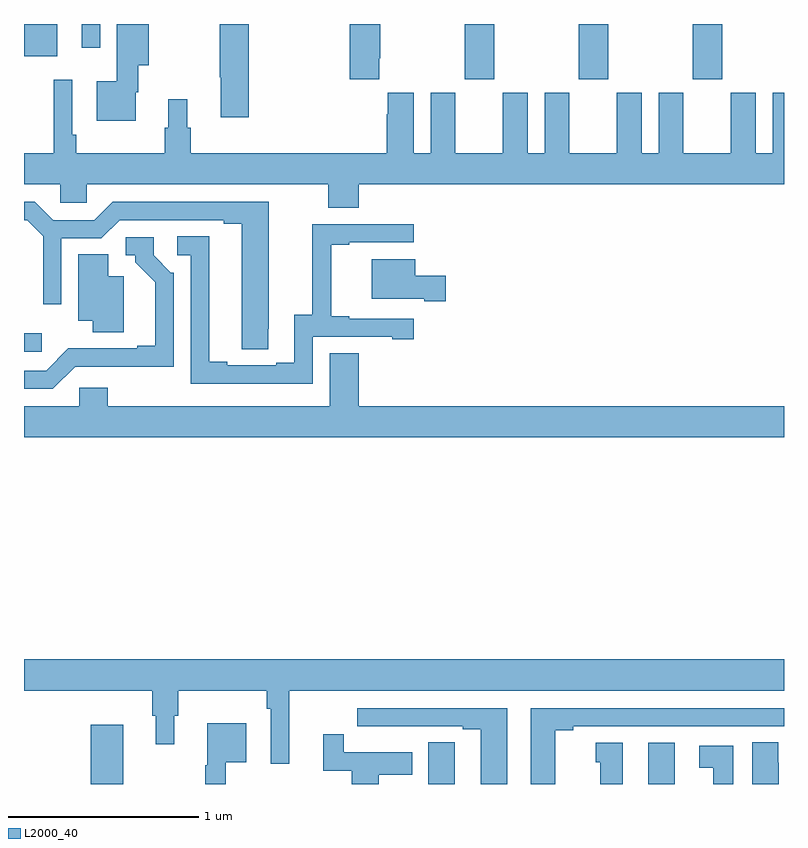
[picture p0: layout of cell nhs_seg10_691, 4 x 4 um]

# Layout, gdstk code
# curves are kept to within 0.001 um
import gdstk
lib = gdstk.Library(unit=1e-6, precision=1e-09)
def R(c, l, rs):  # rectangles x0, y0, x1, y1
    for r in rs: c.add(gdstk.rectangle(r[:2], r[2:], *l))
def A(c, l, x, y, w, h, nx, ny, dx, dy):  # array of equal rectangles
    R(c, l, [(x+i*dx, y+j*dy, x+i*dx+w, y+j*dy+h) for i in range(nx) for j in range(ny)])
def P(c, l, *ps):  # polygons
    for p in ps: c.add(gdstk.Polygon(p, *l))
L2000_40 = (2000, 40)

nhs_seg10_691 = lib.new_cell('nhs_seg10_691')
A(nhs_seg10_691, L2000_40, 147.319, 1294.209, 0.155, 0.291, 3, 1, 0.6, 0)
R(nhs_seg10_691, L2000_40, [(145.352,1290.5,145.522,1290.811), (148.286,1290.5,148.426,1290.718), (145,1292.775,145.093,1292.872), (145,1294.331,145.174,1294.5), (145.304,1294.374,145.401,1294.5)])
P(nhs_seg10_691, L2000_40, [(146.183,1294.5),(146.029,1294.5),(146.029,1294.22),(146.036,1294.22),(146.036,1294.008),(146.183,1294.008)],
  [(145.587,1294.142),(145.6,1294.142),(145.6,1294.283),(145.656,1294.283),(145.656,1294.5),(145.489,1294.5),(145.489,1294.198),(145.382,1294.198),(145.382,1293.992),(145.587,1293.992)],
  [(146.869,1294.321),(146.874,1294.321),(146.874,1294.5),(146.714,1294.5),(146.714,1294.209),(146.869,1294.209)],
  [(145.157,1293.82),(145,1293.82),(145,1293.656),(145.191,1293.656),(145.191,1293.558),(145.329,1293.558),(145.329,1293.656),(146.602,1293.656),(146.602,1293.532),(146.762,1293.532),(146.762,1293.656),(149,1293.656),(149,1294.138),(148.94,1294.138),(148.94,1293.82),(148.852,1293.82),(148.852,1294.138),(148.721,1294.138),(148.721,1293.82),(148.471,1293.82),(148.471,1294.138),(148.34,1294.138),(148.34,1293.82),(148.252,1293.82),(148.252,1294.138),(148.121,1294.138),(148.121,1293.82),(147.871,1293.82),(147.871,1294.138),(147.74,1294.138),(147.74,1293.82),(147.652,1293.82),(147.652,1294.138),(147.521,1294.138),(147.521,1293.82),(147.271,1293.82),(147.271,1294.138),(147.14,1294.138),(147.14,1293.82),(147.052,1293.82),(147.052,1294.138),(146.915,1294.138),(146.915,1294.025),(146.909,1294.025),(146.909,1293.82),(145.877,1293.82),(145.877,1293.954),(145.858,1293.954),(145.858,1294.105),(145.76,1294.105),(145.76,1293.954),(145.741,1293.954),(145.741,1293.82),(145.274,1293.82),(145.274,1293.916),(145.254,1293.916),(145.254,1294.207),(145.157,1294.207)],
  [(146.286,1292.896),(146.287,1293.564),(145.467,1293.564),(145.371,1293.468),(145.153,1293.468),(145.057,1293.564),(145,1293.564),(145,1293.468),(145.017,1293.468),(145.101,1293.384),(145.101,1293.024),(145.197,1293.024),(145.197,1293.372),(145.407,1293.372),(145.503,1293.468),(146.051,1293.468),(146.051,1293.448),(146.147,1293.448),(146.147,1292.788),(146.286,1292.788)],
  [(146.52,1292.853),(146.939,1292.853),(146.939,1292.841),(147.052,1292.841),(147.052,1292.949),(146.713,1292.949),(146.713,1292.962),(146.618,1292.962),(146.618,1293.339),(146.713,1293.339),(146.713,1293.351),(147.052,1293.351),(147.052,1293.447),(146.518,1293.447),(146.518,1292.969),(146.423,1292.969),(146.423,1292.718),(146.327,1292.718),(146.327,1292.703),(146.071,1292.703),(146.071,1292.723),(145.975,1292.723),(145.975,1293.383),(145.806,1293.383),(145.806,1293.282),(145.878,1293.282),(145.878,1292.607),(146.52,1292.607)],
  [(145.269,1292.697),(145.788,1292.696),(145.788,1293.192),(145.773,1293.192),(145.683,1293.282),(145.683,1293.378),(145.536,1293.378),(145.536,1293.282),(145.586,1293.282),(145.586,1293.247),(145.691,1293.142),(145.691,1292.806),(145.595,1292.806),(145.595,1292.793),(145.234,1292.794),(145.116,1292.676),(145,1292.676),(145,1292.58),(145.152,1292.58)],
  [(145.525,1293.172),(145.444,1293.172),(145.444,1293.287),(145.286,1293.287),(145.286,1292.939),(145.361,1292.939),(145.361,1292.878),(145.525,1292.878)],
  [(147.22,1293.175),(147.058,1293.175),(147.058,1293.262),(146.831,1293.262),(146.831,1293.053),(147.107,1293.053),(147.107,1293.041),(147.22,1293.041)],
  [(149,1292.488),(146.762,1292.488),(146.762,1292.768),(146.609,1292.768),(146.609,1292.488),(145.442,1292.488),(145.442,1292.586),(145.29,1292.586),(145.29,1292.488),(145,1292.488),(145,1292.324),(149,1292.324)],
  [(146.396,1290.992),(149,1290.992),(149,1291.156),(145,1291.156),(145,1290.992),(145.675,1290.992),(145.675,1290.858),(145.694,1290.858),(145.694,1290.708),(145.792,1290.708),(145.792,1290.858),(145.811,1290.858),(145.811,1290.992),(146.278,1290.992),(146.278,1290.896),(146.298,1290.896),(146.298,1290.606),(146.396,1290.606)],
  [(147.796,1290.784),(147.892,1290.784),(147.892,1290.804),(149,1290.804),(149,1290.9),(147.668,1290.9),(147.668,1290.5),(147.796,1290.5)],
  [(147.544,1290.9),(146.754,1290.9),(146.754,1290.804),(146.866,1290.804),(146.866,1290.803),(147.032,1290.803),(147.032,1290.804),(147.308,1290.804),(147.308,1290.789),(147.404,1290.789),(147.404,1290.5),(147.544,1290.5)],
  [(146.061,1290.614),(146.17,1290.614),(146.17,1290.82),(145.964,1290.82),(145.964,1290.6),(145.953,1290.6),(145.953,1290.5),(146.061,1290.5)],
  [(146.866,1290.55),(147.043,1290.55),(147.043,1290.666),(146.684,1290.666),(146.684,1290.763),(146.576,1290.763),(146.576,1290.57),(146.726,1290.57),(146.726,1290.5),(146.866,1290.5)],
  [(148.972,1290.611),(148.971,1290.611),(148.971,1290.719),(148.832,1290.719),(148.832,1290.5),(148.972,1290.5)],
  [(147.268,1290.611),(147.267,1290.611),(147.267,1290.719),(147.128,1290.719),(147.128,1290.5),(147.268,1290.5)],
  [(148.15,1290.718),(148.01,1290.718),(148.01,1290.615),(148.034,1290.615),(148.034,1290.5),(148.15,1290.5)],
  [(148.732,1290.702),(148.554,1290.702),(148.554,1290.586),(148.628,1290.586),(148.628,1290.5),(148.732,1290.5)])

lib.write_gds('nhs_seg10_691.gds')
